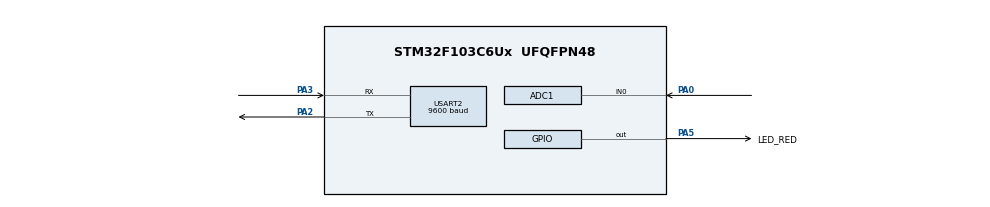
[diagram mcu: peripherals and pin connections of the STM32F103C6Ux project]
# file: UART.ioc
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ADC1.Channel-1\#ChannelRegularConversion=ADC_CHANNEL_0
ADC1.ContinuousConvMode=ENABLE
ADC1.NbrOfConversionFlag=1
ADC1.Rank-1\#ChannelRegularConversion=1
ADC1.SamplingTime-1\#ChannelRegularConversion=ADC_SAMPLETIME_1CYCLE_5
ADC1.master=1
Mcu.Family=STM32F1
Mcu.Name=STM32F103C6Ux
Mcu.Package=UFQFPN48
NVIC.PriorityGroup=NVIC_PRIORITYGROUP_4
NVIC.USART2_IRQn=true\:0\:0\:false\:false\:true\:true\:true
PA0-WKUP.Signal=ADCx_IN0
PA2.Mode=Asynchronous
PA2.Signal=USART2_TX
PA3.Mode=Asynchronous
PA3.Signal=USART2_RX
PA5.GPIO_Label=LED_RED
PA5.Signal=GPIO_Output
ProjectManager.HeapSize=0x200
ProjectManager.StackSize=0x400
ProjectManager.TargetToolchain=STM32CubeIDE
RCC.APB1Freq_Value=8000000
RCC.APB2Freq_Value=8000000
SH.ADCx_IN0.0=ADC1_IN0,IN0
USART2.BaudRate=9600
USART2.VirtualMode=VM_ASYNC
VP_SYS_VS_ND.Mode=No_Debug
board=custom

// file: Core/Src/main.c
/* USER CODE BEGIN Header */
/**
  ******************************************************************************
  * @file           : main.c
  * @brief          : Main program body
  ******************************************************************************
  * @attention
  *
  * <h2><center>&copy; Copyright (c) 2023 STMicroelectronics.
  * All rights reserved.</center></h2>
  *
  * This software component is licensed by ST under BSD 3-Clause license,
  * the "License"; You may not use this file except in compliance with the
  * License. You may obtain a copy of the License at:
  *                        opensource.org/licenses/BSD-3-Clause
  *
  ******************************************************************************
  */
/* USER CODE END Header */
#include "main.h"

/* USER CODE BEGIN Includes */
#include <stdio.h>
#include <string.h>
#include <stdlib.h>
/* USER CODE END Includes */

ADC_HandleTypeDef hadc1;

UART_HandleTypeDef huart2;

void SystemClock_Config(void);
static void MX_GPIO_Init(void);
static void MX_ADC1_Init(void);
static void MX_USART2_UART_Init(void);

/* USER CODE BEGIN 0 */
char console[20];
int i=0;
int flag=0;
int input_flag =0;
uint8_t temp = 0;
uint32_t ADC_value =235;
/* USER CODE END 0 */

int main(void)
{

  /* MCU Configuration--------------------------------------------------------*/

  /* Reset of all peripherals, Initializes the Flash interface and the Systick. */
  HAL_Init();

  /* Configure the system clock */
  SystemClock_Config();

  /* Initialize all configured peripherals */
  MX_GPIO_Init();
  MX_ADC1_Init();
  MX_USART2_UART_Init();
  /* USER CODE BEGIN 2 */

  char str1[20];
//  char test[20]="Testing";

  HAL_UART_Receive_IT(&huart2, &temp, 1);
//  HAL_ADC_Start_IT(&hadc1);
  /* USER CODE END 2 */

  /* Infinite loop */
  /* USER CODE BEGIN WHILE */

  while (1)
  {
	  HAL_GPIO_TogglePin ( LED_RED_GPIO_Port , LED_RED_Pin );
	  ADC_value = rand()%4096;
//			  HAL_ADC_GetValue (& hadc1 );
	  if(flag){
		  if(strstr(console, "!RST#") != NULL){
			  HAL_UART_Transmit(&huart2, (void*) str1, sprintf(str1, "!ADC=%lu#\n",  ADC_value), 1000);
//			  HAL_UART_Transmit(&huart2, (void*) test, 	sizeof(test), 1000);

		  }
		  if(strstr(console, "!OK#") != NULL){
			  HAL_Delay(3000);
		  }
		  memset(console,0,sizeof(console));
		  i=0;
		  flag=0;
	  }

	  HAL_Delay (500) ;
    /* USER CODE END WHILE */

  }
}

void SystemClock_Config(void)
{
  RCC_OscInitTypeDef RCC_OscInitStruct = {0};
  RCC_ClkInitTypeDef RCC_ClkInitStruct = {0};
  RCC_PeriphCLKInitTypeDef PeriphClkInit = {0};

  /** Initializes the RCC Oscillators according to the specified parameters
  * in the RCC_OscInitTypeDef structure.
  */
  RCC_OscInitStruct.OscillatorType = RCC_OSCILLATORTYPE_HSI;
  RCC_OscInitStruct.HSIState = RCC_HSI_ON;
  RCC_OscInitStruct.HSICalibrationValue = RCC_HSICALIBRATION_DEFAULT;
  RCC_OscInitStruct.PLL.PLLState = RCC_PLL_NONE;
  if (HAL_RCC_OscConfig(&RCC_OscInitStruct) != HAL_OK)
  {
    Error_Handler();
  }
  /** Initializes the CPU, AHB and APB buses clocks
  */
  RCC_ClkInitStruct.ClockType = RCC_CLOCKTYPE_HCLK|RCC_CLOCKTYPE_SYSCLK
                              |RCC_CLOCKTYPE_PCLK1|RCC_CLOCKTYPE_PCLK2;
  RCC_ClkInitStruct.SYSCLKSource = RCC_SYSCLKSOURCE_HSI;
  RCC_ClkInitStruct.AHBCLKDivider = RCC_SYSCLK_DIV1;
  RCC_ClkInitStruct.APB1CLKDivider = RCC_HCLK_DIV1;
  RCC_ClkInitStruct.APB2CLKDivider = RCC_HCLK_DIV1;

  if (HAL_RCC_ClockConfig(&RCC_ClkInitStruct, FLASH_LATENCY_0) != HAL_OK)
  {
    Error_Handler();
  }
  PeriphClkInit.PeriphClockSelection = RCC_PERIPHCLK_ADC;
  PeriphClkInit.AdcClockSelection = RCC_ADCPCLK2_DIV2;
  if (HAL_RCCEx_PeriphCLKConfig(&PeriphClkInit) != HAL_OK)
  {
    Error_Handler();
  }
}

static void MX_ADC1_Init(void)
{

  ADC_ChannelConfTypeDef sConfig = {0};

  /** Common config
  */
  hadc1.Instance = ADC1;
  hadc1.Init.ScanConvMode = ADC_SCAN_DISABLE;
  hadc1.Init.ContinuousConvMode = ENABLE;
  hadc1.Init.DiscontinuousConvMode = DISABLE;
  hadc1.Init.ExternalTrigConv = ADC_SOFTWARE_START;
  hadc1.Init.DataAlign = ADC_DATAALIGN_RIGHT;
  hadc1.Init.NbrOfConversion = 1;
  if (HAL_ADC_Init(&hadc1) != HAL_OK)
  {
    Error_Handler();
  }
  /** Configure Regular Channel
  */
  sConfig.Channel = ADC_CHANNEL_0;
  sConfig.Rank = ADC_REGULAR_RANK_1;
  sConfig.SamplingTime = ADC_SAMPLETIME_1CYCLE_5;
  if (HAL_ADC_ConfigChannel(&hadc1, &sConfig) != HAL_OK)
  {
    Error_Handler();
  }

}

static void MX_USART2_UART_Init(void)
{

  huart2.Instance = USART2;
  huart2.Init.BaudRate = 9600;
  huart2.Init.WordLength = UART_WORDLENGTH_8B;
  huart2.Init.StopBits = UART_STOPBITS_1;
  huart2.Init.Parity = UART_PARITY_NONE;
  huart2.Init.Mode = UART_MODE_TX_RX;
  huart2.Init.HwFlowCtl = UART_HWCONTROL_NONE;
  huart2.Init.OverSampling = UART_OVERSAMPLING_16;
  if (HAL_UART_Init(&huart2) != HAL_OK)
  {
    Error_Handler();
  }

}

static void MX_GPIO_Init(void)
{
  GPIO_InitTypeDef GPIO_InitStruct = {0};

  /* GPIO Ports Clock Enable */
  __HAL_RCC_GPIOA_CLK_ENABLE();

  /*Configure GPIO pin Output Level */
  HAL_GPIO_WritePin(LED_RED_GPIO_Port, LED_RED_Pin, GPIO_PIN_RESET);

  /*Configure GPIO pin : LED_RED_Pin */
  GPIO_InitStruct.Pin = LED_RED_Pin;
  GPIO_InitStruct.Mode = GPIO_MODE_OUTPUT_PP;
  GPIO_InitStruct.Pull = GPIO_NOPULL;
  GPIO_InitStruct.Speed = GPIO_SPEED_FREQ_LOW;
  HAL_GPIO_Init(LED_RED_GPIO_Port, &GPIO_InitStruct);

}

/* USER CODE BEGIN 4 */
void HAL_UART_RxCpltCallback(UART_HandleTypeDef *huart) {
	if (huart->Instance == USART2) {
		HAL_UART_Transmit (& huart2 , &temp , 1, 50) ;
		console[i]=temp;
		i++;
		if(i >=20) i=0;
		if(temp =='#') flag=1;
		HAL_UART_Receive_IT(&huart2, &temp, 1);

	}
//	  HAL_ADC_Start_IT(&hadc1);

//	  HAL_Delay(500);
//	  HAL_ADC_Stop(&hadc1);
}
/* USER CODE END 4 */

void Error_Handler(void)
{
  __disable_irq();
  while (1)
  {
  }
}

/************************ (C) COPYRIGHT STMicroelectronics *****END OF FILE****/
